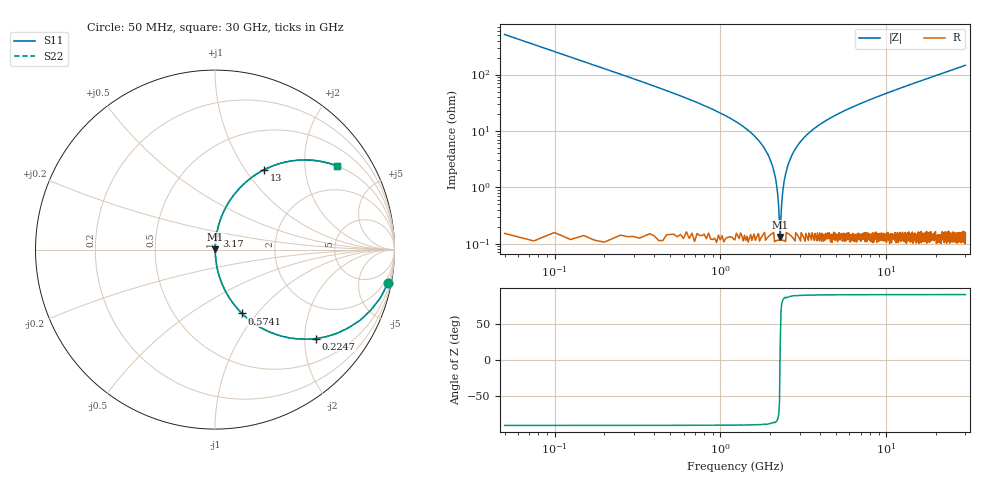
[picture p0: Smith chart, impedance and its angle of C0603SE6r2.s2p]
!	AVX Thin Film Operation 	Date: April 2014
!	Description: Accu-P® Series, Thin Film  SMD RF Capacitor
!	Part Number: 06035J6R2BBSTR
# MHZ S MA R 50
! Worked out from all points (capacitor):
!   1201 points, 50 MHz to 30 GHz, reference 50 ohm
!   read as one part in series: C = 6.2 pF near 199.8 MHz
!   lowest |Z| = 131 mohm at 2.296 GHz (marker M1)
!   series resonance near 2.29 GHz, so ESL is about 780 pH
!   S11 on the Smith chart (normalised r, x): 50 MHz: 1, -10; 224.7 MHz: 1.00, -2.26; 574.1 MHz: 1.00, -0.84; 3.17 GHz: 1.00, +0.15; 13 GHz: 1.00, +1.23; 30 GHz: 1.00, +2.92
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50  0.981 -11.0  0.191 79.0  0.191 79.0  0.981 -11.0
224.708  0.749 -41.4  0.662 48.5  0.662 48.5  0.749 -41.4
399.417  0.528 -58.0  0.848 31.9  0.848 31.9  0.528 -58.0
574.125  0.386 -67.1  0.921 22.7  0.921 22.7  0.386 -67.1
973.458  0.211 -77.5  0.976 12.2  0.976 12.2  0.211 -77.5
1797.083  0.055 -85.5  0.997 3.1  0.997 3.1  0.055 -85.5
1996.75  0.031 -85.8  0.998 1.8  0.998 1.8  0.031 -85.8
2071.625  0.023 -85.3  0.998 1.3  0.998 1.3  0.023 -85.3
2196.417  0.009448 -81.4  0.999 0.5  0.999 0.5  0.009448 -81.4
2296.25  0.001458 24.3  0.999 -0.0  0.999 -0.0  0.001458 24.3
2396.083  0.01 81.9  0.999 -0.6  0.999 -0.6  0.01 81.9
2520.875  0.022 85.2  0.998 -1.2  0.998 -1.2  0.022 85.2
2670.625  0.035 85.8  0.998 -2.0  0.998 -2.0  0.035 85.8
3169.792  0.074 84.7  0.996 -4.2  0.996 -4.2  0.074 84.7
3943.5  0.127 82.1  0.991 -7.3  0.991 -7.3  0.127 82.1
5041.667  0.192 78.5  0.98 -11.1  0.98 -11.1  0.192 78.5
10058.29  0.423 64.8  0.905 -25.0  0.905 -25.0  0.423 64.8
13003.38  0.524 58.2  0.85 -31.6  0.85 -31.6  0.524 58.2
15025  0.583 54.2  0.811 -35.7  0.811 -35.7  0.583 54.2
20016.67  0.695 45.9  0.718 -44.0  0.718 -44.0  0.695 45.9
25033.29  0.772 39.4  0.635 -50.5  0.635 -50.5  0.772 39.4
30000  0.825 34.4  0.565 -55.6  0.565 -55.6  0.825 34.4
